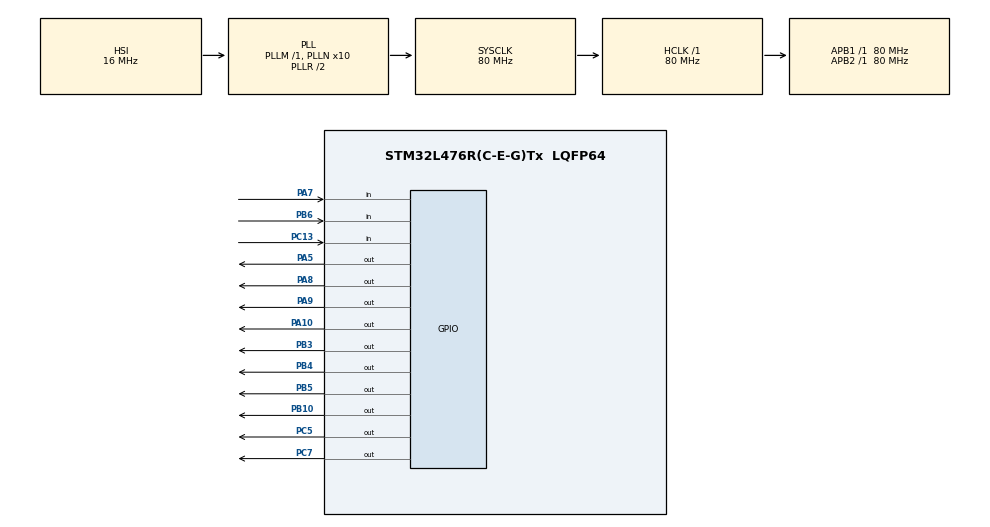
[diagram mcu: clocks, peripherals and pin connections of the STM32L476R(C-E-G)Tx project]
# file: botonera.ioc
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Mcu.Family=STM32L4
Mcu.Name=STM32L476R(C-E-G)Tx
Mcu.Package=LQFP64
NUCLEO-L476RG.BUTTON=1
NUCLEO-L476RG.LD2=true
NVIC.EXTI15_10_IRQn=true\:0\:0\:false\:false\:true\:false\:true\:true
NVIC.PriorityGroup=NVIC_PRIORITYGROUP_4
PA10.Signal=GPIO_Output
PA13\ (JTMS-SWDIO).GPIO_Label=TMS
PA13\ (JTMS-SWDIO).Signal=SYS_JTMS-SWDIO
PA14\ (JTCK-SWCLK).GPIO_Label=TCK
PA14\ (JTCK-SWCLK).Signal=SYS_JTCK-SWCLK
PA2.GPIO_Label=USART_TX
PA2.GPIO_Mode=GPIO_MODE_AF_PP
PA2.GPIO_PuPd=GPIO_NOPULL
PA2.GPIO_Speed=GPIO_SPEED_FREQ_VERY_HIGH
PA2.Signal=USART2_TX
PA3.GPIO_Label=USART_RX
PA3.GPIO_Mode=GPIO_MODE_AF_PP
PA3.GPIO_PuPd=GPIO_NOPULL
PA3.GPIO_Speed=GPIO_SPEED_FREQ_VERY_HIGH
PA3.Signal=USART2_RX
PA5.Signal=GPIO_Output
PA7.Signal=GPIO_Input
PA8.Signal=GPIO_Output
PA9.Signal=GPIO_Output
PB10.Signal=GPIO_Output
PB3\ (JTDO-TRACESWO).Signal=GPIO_Output
PB4\ (NJTRST).Signal=GPIO_Output
PB5.Signal=GPIO_Output
PB6.Signal=GPIO_Input
PC13.Signal=GPIO_Input
PC14-OSC32_IN\ (PC14).Signal=RCC_OSC32_IN
PC15-OSC32_OUT\ (PC15).Signal=RCC_OSC32_OUT
PC5.Signal=GPIO_Output
PC7.Signal=GPIO_Output
PH0-OSC_IN\ (PH0).Signal=RCC_OSC_IN
PH1-OSC_OUT\ (PH1).Signal=RCC_OSC_OUT
ProjectManager.HeapSize=0x200
ProjectManager.StackSize=0x400
ProjectManager.TargetToolchain=STM32CubeIDE
RCC.ADCFreq_Value=64000000
RCC.AHBFreq_Value=80000000
RCC.APB1Freq_Value=80000000
RCC.APB1TimFreq_Value=80000000
RCC.APB2Freq_Value=80000000
RCC.APB2TimFreq_Value=80000000
RCC.CortexFreq_Value=80000000
RCC.HCLKFreq_Value=80000000
RCC.HSE_VALUE=8000000
RCC.HSI_VALUE=16000000
RCC.LSE_VALUE=32768
RCC.MSI_VALUE=4000000
RCC.PLLN=10
RCC.PLLSourceVirtual=RCC_PLLSOURCE_HSI
RCC.PREFETCH_ENABLE=1
RCC.SYSCLKFreq_VALUE=80000000
RCC.SYSCLKSource=RCC_SYSCLKSOURCE_PLLCLK
RCC.USBFreq_Value=64000000
RCC.VCOOutputFreq_Value=160000000
VP_NUCLEO-L476RG_VS_BSP_COMMON.Mode=COMMON
board=NUCLEO-L476RG

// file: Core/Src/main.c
/* USER CODE BEGIN Header */
/**
  ******************************************************************************
  * @file           : main.c
  * @brief          : Main program body
  ******************************************************************************
  * @attention
  *
  * Copyright (c) 2026 STMicroelectronics.
  * All rights reserved.
  *
  * This software is licensed under terms that can be found in the LICENSE file
  * in the root directory of this software component.
  * If no LICENSE file comes with this software, it is provided AS-IS.
  *
  ******************************************************************************
  */

/* USER CODE END Header */
#include "main.h"

/* USER CODE BEGIN PV */
	volatile int S_azul_act;
	volatile int S_azul_prev;
	volatile int S1;
	volatile int S2;
	volatile int pausa = 0;
	int estado = 00;

	#define DELAY  300
	GPIO_TypeDef *LED_PORT[8] = { GPIOA, GPIOB, GPIOB, GPIOB, GPIOB, GPIOA, GPIOA, GPIOC };
	int LED_PIN[8]  = { GPIO_PIN_10, GPIO_PIN_3, GPIO_PIN_5, GPIO_PIN_4, GPIO_PIN_10, GPIO_PIN_8, GPIO_PIN_9, GPIO_PIN_7 };

	int patron[8] = {1, 1, 1, 1, 0, 0, 0, 0};

/* USER CODE END PV */

void SystemClock_Config(void);
static void MX_GPIO_Init(void);
/* USER CODE BEGIN PFP */

void PatronLed(int *patron);
void izquierda(int *patron);
void derecha(int *patron);
void prendidas();
void apagadas();

/* USER CODE END PFP */

int main(void)
{

  /* MCU Configuration--------------------------------------------------------*/

  /* Reset of all peripherals, Initializes the Flash interface and the Systick. */
  HAL_Init();

  /* Configure the system clock */
  SystemClock_Config();

  /* Initialize all configured peripherals */
  MX_GPIO_Init();

  /* Initialize leds */
  BSP_LED_Init(LED_GREEN);

  /* Initialize USER push-button, will be used to trigger an interrupt each time it's pressed.*/
  BSP_PB_Init(BUTTON_USER, BUTTON_MODE_EXTI);

  /* Infinite loop */
  /* USER CODE BEGIN WHILE */
  while (1)
  {

	  S_azul_act = HAL_GPIO_ReadPin(GPIOC, GPIO_PIN_13);
	  	  S2 = HAL_GPIO_ReadPin(GPIOB, GPIO_PIN_6);
	  	  S1 = HAL_GPIO_ReadPin(GPIOA, GPIO_PIN_7);
	  	  estado = (S1 << 1) | S2;
	  	  if ( S_azul_prev == GPIO_PIN_SET && S_azul_act == GPIO_PIN_RESET)
	  	  	      {
	  		  pausa++;

	  	  	    if (pausa >=2){

	  	  	        pausa = 0;
	  	  	        }

	  	  	      }
	  	  S_azul_prev = S_azul_act;

	  	  switch (pausa){
	  	  	  case 0 :
	  	  		  PatronLed(patron);

	  	  		  break;
	  	  	  case 1 :

				  switch (estado){
							  case 0 :
								  PatronLed(patron);
								  HAL_Delay(DELAY);
								  apagadas();
								  HAL_Delay(DELAY);
								  PatronLed(patron);

								  break;
							  case 1 :
								  derecha(patron);
								  PatronLed(patron);
								  HAL_Delay(DELAY);

								  break;
							  case 2 :
								  izquierda(patron);
								  PatronLed(patron);
								  HAL_Delay(DELAY);
								  break;
							  case 3 :
								  apagadas();
								  HAL_Delay(DELAY);
								  prendidas();
								  HAL_Delay(DELAY);
								  apagadas();
								  break;
				  }
	  		  	break;

	  	  }

    /* USER CODE END WHILE */

  }
}

void SystemClock_Config(void)
{
  RCC_OscInitTypeDef RCC_OscInitStruct = {0};
  RCC_ClkInitTypeDef RCC_ClkInitStruct = {0};

  /** Configure the main internal regulator output voltage
  */
  if (HAL_PWREx_ControlVoltageScaling(PWR_REGULATOR_VOLTAGE_SCALE1) != HAL_OK)
  {
    Error_Handler();
  }

  /** Initializes the RCC Oscillators according to the specified parameters
  * in the RCC_OscInitTypeDef structure.
  */
  RCC_OscInitStruct.OscillatorType = RCC_OSCILLATORTYPE_HSI;
  RCC_OscInitStruct.HSIState = RCC_HSI_ON;
  RCC_OscInitStruct.HSICalibrationValue = RCC_HSICALIBRATION_DEFAULT;
  RCC_OscInitStruct.PLL.PLLState = RCC_PLL_ON;
  RCC_OscInitStruct.PLL.PLLSource = RCC_PLLSOURCE_HSI;
  RCC_OscInitStruct.PLL.PLLM = 1;
  RCC_OscInitStruct.PLL.PLLN = 10;
  RCC_OscInitStruct.PLL.PLLP = RCC_PLLP_DIV7;
  RCC_OscInitStruct.PLL.PLLQ = RCC_PLLQ_DIV2;
  RCC_OscInitStruct.PLL.PLLR = RCC_PLLR_DIV2;
  if (HAL_RCC_OscConfig(&RCC_OscInitStruct) != HAL_OK)
  {
    Error_Handler();
  }

  /** Initializes the CPU, AHB and APB buses clocks
  */
  RCC_ClkInitStruct.ClockType = RCC_CLOCKTYPE_HCLK|RCC_CLOCKTYPE_SYSCLK
                              |RCC_CLOCKTYPE_PCLK1|RCC_CLOCKTYPE_PCLK2;
  RCC_ClkInitStruct.SYSCLKSource = RCC_SYSCLKSOURCE_PLLCLK;
  RCC_ClkInitStruct.AHBCLKDivider = RCC_SYSCLK_DIV1;
  RCC_ClkInitStruct.APB1CLKDivider = RCC_HCLK_DIV1;
  RCC_ClkInitStruct.APB2CLKDivider = RCC_HCLK_DIV1;

  if (HAL_RCC_ClockConfig(&RCC_ClkInitStruct, FLASH_LATENCY_4) != HAL_OK)
  {
    Error_Handler();
  }
}

static void MX_GPIO_Init(void)
{
  GPIO_InitTypeDef GPIO_InitStruct = {0};

  /* GPIO Ports Clock Enable */
  __HAL_RCC_GPIOC_CLK_ENABLE();
  __HAL_RCC_GPIOH_CLK_ENABLE();
  __HAL_RCC_GPIOA_CLK_ENABLE();
  __HAL_RCC_GPIOB_CLK_ENABLE();

  /*Configure GPIO pin Output Level */
  HAL_GPIO_WritePin(GPIOC, GPIO_PIN_5|GPIO_PIN_7, GPIO_PIN_RESET);

  /*Configure GPIO pin Output Level */
  HAL_GPIO_WritePin(GPIOB, GPIO_PIN_10|GPIO_PIN_3|GPIO_PIN_4|GPIO_PIN_5, GPIO_PIN_RESET);

  /*Configure GPIO pin Output Level */
  HAL_GPIO_WritePin(GPIOA, GPIO_PIN_8|GPIO_PIN_9|GPIO_PIN_10, GPIO_PIN_RESET);

  /*Configure GPIO pins : USART_TX_Pin USART_RX_Pin */
  GPIO_InitStruct.Pin = USART_TX_Pin|USART_RX_Pin;
  GPIO_InitStruct.Mode = GPIO_MODE_AF_PP;
  GPIO_InitStruct.Pull = GPIO_NOPULL;
  GPIO_InitStruct.Speed = GPIO_SPEED_FREQ_VERY_HIGH;
  GPIO_InitStruct.Alternate = GPIO_AF7_USART2;
  HAL_GPIO_Init(GPIOA, &GPIO_InitStruct);

  /*Configure GPIO pin : PA7 */
  GPIO_InitStruct.Pin = GPIO_PIN_7;
  GPIO_InitStruct.Mode = GPIO_MODE_INPUT;
  GPIO_InitStruct.Pull = GPIO_NOPULL;
  HAL_GPIO_Init(GPIOA, &GPIO_InitStruct);

  /*Configure GPIO pins : PC5 PC7 */
  GPIO_InitStruct.Pin = GPIO_PIN_5|GPIO_PIN_7;
  GPIO_InitStruct.Mode = GPIO_MODE_OUTPUT_PP;
  GPIO_InitStruct.Pull = GPIO_NOPULL;
  GPIO_InitStruct.Speed = GPIO_SPEED_FREQ_LOW;
  HAL_GPIO_Init(GPIOC, &GPIO_InitStruct);

  /*Configure GPIO pins : PB10 PB3 PB4 PB5 */
  GPIO_InitStruct.Pin = GPIO_PIN_10|GPIO_PIN_3|GPIO_PIN_4|GPIO_PIN_5;
  GPIO_InitStruct.Mode = GPIO_MODE_OUTPUT_PP;
  GPIO_InitStruct.Pull = GPIO_NOPULL;
  GPIO_InitStruct.Speed = GPIO_SPEED_FREQ_LOW;
  HAL_GPIO_Init(GPIOB, &GPIO_InitStruct);

  /*Configure GPIO pins : PA8 PA9 PA10 */
  GPIO_InitStruct.Pin = GPIO_PIN_8|GPIO_PIN_9|GPIO_PIN_10;
  GPIO_InitStruct.Mode = GPIO_MODE_OUTPUT_PP;
  GPIO_InitStruct.Pull = GPIO_NOPULL;
  GPIO_InitStruct.Speed = GPIO_SPEED_FREQ_LOW;
  HAL_GPIO_Init(GPIOA, &GPIO_InitStruct);

  /*Configure GPIO pin : PB6 */
  GPIO_InitStruct.Pin = GPIO_PIN_6;
  GPIO_InitStruct.Mode = GPIO_MODE_INPUT;
  GPIO_InitStruct.Pull = GPIO_NOPULL;
  HAL_GPIO_Init(GPIOB, &GPIO_InitStruct);

}

/* USER CODE BEGIN 4 */

void PatronLed(int patron[8])
{
  for (int i = 0; i < 8; i++)
  {
    HAL_GPIO_WritePin(LED_PORT[i], LED_PIN[i], patron[i] ? GPIO_PIN_SET : GPIO_PIN_RESET);
  }
}

void prendidas()
{
  for (int i = 0; i < 8; i++)
  {
    HAL_GPIO_WritePin(LED_PORT[i], LED_PIN[i], GPIO_PIN_SET);
  }
}

void apagadas()
{
  for (int i = 0; i < 8; i++)
  {
    HAL_GPIO_WritePin(LED_PORT[i], LED_PIN[i], GPIO_PIN_RESET);
  }
}
void izquierda(int patron[8])
{
  uint8_t ultimo = patron[7];
  for (int i = 7; i > 0; i--)
  {
    patron[i] = patron[i - 1];
  }
  patron[0] = ultimo;
}
void derecha(int patron[8])
{
  uint8_t primero = patron[0];
  for (int i = 0; i < 7; i++)
  {
    patron[i] = patron[i + 1];
  }
  patron[7] = primero;
}

/* USER CODE END 4 */

void Error_Handler(void)
{
  __disable_irq();
  while (1)
  {
  }
}
